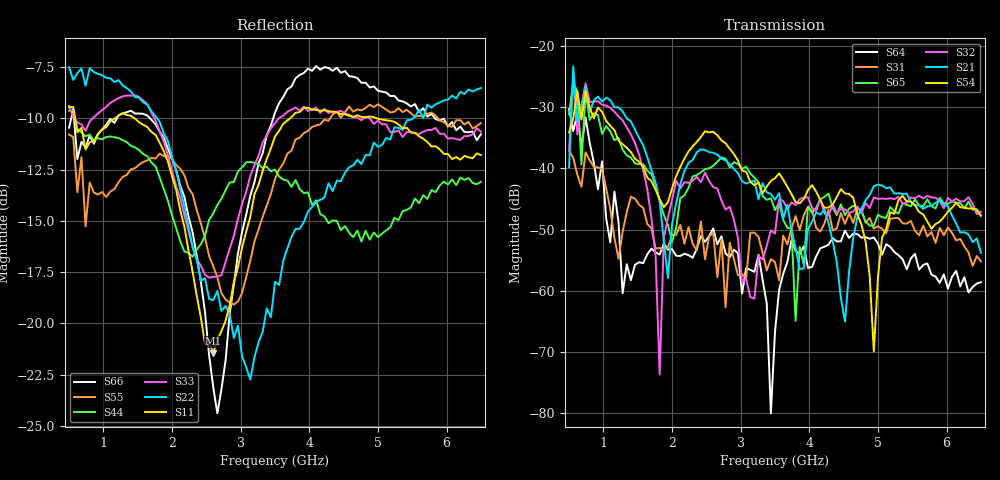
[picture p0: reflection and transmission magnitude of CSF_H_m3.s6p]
!Keysight Technologies,M9804A,MY58100912,A.14.10.03
!Date: Thursday, April 27, 2023 10:28:33
!Correction: S11(C  6-Port  )
!S12(C  6-Port  )
!S13(C  6-Port  )
!S14(C  6-Port  )
!S15(C  6-Port  )
!S16(C  6-Port  )
!S21(C  6-Port  )
!S22(C  6-Port  )
!S23(C  6-Port  )
!S24(C  6-Port  )
!S25(C  6-Port  )
!S26(C  6-Port  )
!S31(C  6-Port  )
!S32(C  6-Port  )
!S33(C  6-Port  )
!S34(C  6-Port  )
!S35(C  6-Port  )
!S36(C  6-Port  )
!S41(C  6-Port  )
!S42(C  6-Port  )
!S43(C  6-Port  )
!S44(C  6-Port  )
!S45(C  6-Port  )
!S46(C  6-Port  )
!S51(C  6-Port  )
!S52(C  6-Port  )
!S53(C  6-Port  )
!S54(C  6-Port  )
!S55(C  6-Port  )
!S56(C  6-Port  )
!S61(C  6-Port  )
!S62(C  6-Port  )
!S63(C  6-Port  )
!S64(C  6-Port  )
!S65(C  6-Port  )
!S66(C  6-Port  )
!S6P File: Measurement: :
# Hz S  RI  R 50
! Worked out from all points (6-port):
!   101 points, 500 MHz to 6.5 GHz, reference 50 ohm
!   strongest paths, dB at 500 MHz, 2 GHz, 3.5 GHz, 5 GHz, 6.5 GHz:
!     S54: -34.1, -43.3, -41.6, -57.9, -47.7
!     S21: -39.8, -49.1, -45.1, -42.7, -53.8
!     S32: -37.1, -45.1, -50.7, -45.0, -47.1
!     S65: -31.2, -52.0, -46.8, -47.6, -47.7
!     S31: -37.1, -50.9, -55.3, -49.5, -55.2
!     S64: -30.3, -53.2, -66.7, -52.3, -58.6
!   lowest |S11| = -21.4 dB at 2.6 GHz (marker M1), VSWR 1.18, Z = 42.5 + j2.07 ohm
!   |S11| at or under -10 dB: 586.9 MHz to 1.162 GHz (575 MHz wide, 65.8 % of centre); 1.455 GHz to 3.718 GHz (2.262 GHz wide, 87.5 % of centre); 4.984 GHz to end of sweep
